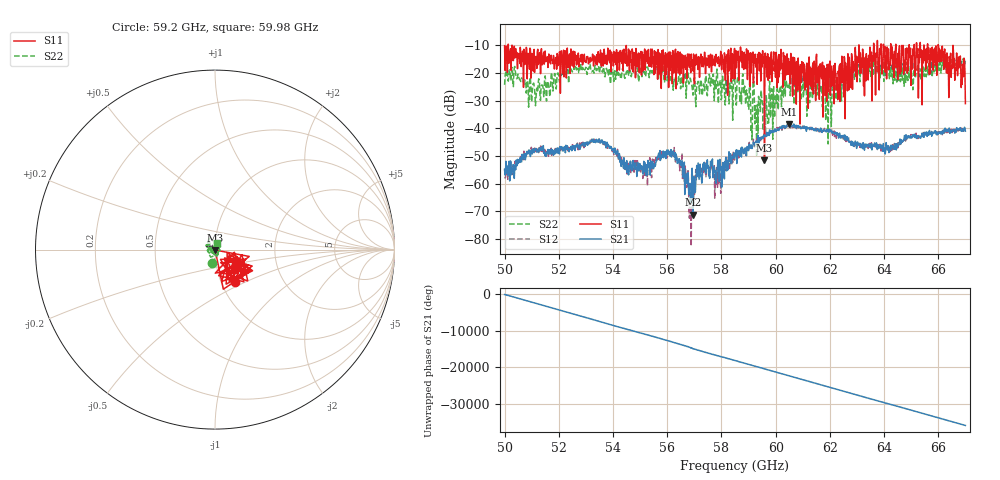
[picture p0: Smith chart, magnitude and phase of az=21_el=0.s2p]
!Created with skrf (http://scikit-rf.org).
# GHz S RI R 50.0
!freq ReS11 ImS11 ReS21 ImS21 ReS12 ImS12 ReS22 ImS22
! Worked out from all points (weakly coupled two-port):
!   1001 points, 50 GHz to 67 GHz, reference 50 ohm
!   highest |S21| = -38.37 dB at 60.49 GHz (marker M1); lowest = -71.2 dB at 56.95 GHz (marker M2)
!   lowest |S11| = -51.6 dB at 59.59 GHz (marker M3), VSWR 1.01, Z = 50.1 - j0.256 ohm
!   |S11| at or under -10 dB: 50.27 GHz to 63.07 GHz (12.8 GHz wide, 22.6 % of centre); 63.07 GHz to 63.62 GHz (541 MHz wide, 0.854 % of centre); 66 GHz to end of sweep (the widest 3 of 17)
!   |S22| runs from -50.1 to -14.1 dB; largest |S21 - S12| = 0.0023
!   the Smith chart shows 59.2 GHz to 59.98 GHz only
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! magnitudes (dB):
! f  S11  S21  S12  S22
! 50 GHz  -10.1  -54.8  -54.8  -24.3
! 50.42 GHz  -14.3  -51.5  -53.0  -21.5
! 51.07 GHz  -12.3  -48.7  -48.1  -23.7
! 52.84 GHz  -14.2  -46.1  -45.2  -19.3
! 53.52 GHz  -13.9  -44.6  -45.3  -18.7
! 55.19 GHz  -19.0  -54.7  -54.7  -21.2
! 55.68 GHz  -13.5  -49.2  -50.5  -22.3
! 56.27 GHz  -19.1  -50.4  -49.5  -22.8
! 56.8 GHz  -13.1  -63.8  -68.5  -24.0
! 56.95 GHz  -19.2  -71.2  -63.2  -28.0
! 57.17 GHz  -15.1  -58.4  -57.6  -25.2
! 57.94 GHz  -17.0  -51.2  -53.2  -23.4
! 58.5 GHz  -22.1  -49.7  -49.1  -23.5
! 59.59 GHz  -51.6  -42.4  -41.8  -31.5
! 60.49 GHz  -20.4  -38.4  -39.4  -24.5
! 61.34 GHz  -26.1  -39.7  -40.5  -25.7
! 62 GHz  -15.7  -40.6  -41.3  -24.7
! 62.6 GHz  -20.1  -44.2  -44.8  -19.3
! 64.18 GHz  -18.8  -48.8  -47.6  -18.4
! 66.08 GHz  -15.6  -41.3  -40.8  -15.6
! 66.75 GHz  -18.3  -40.2  -41.4  -18.2
! 67 GHz  -31.1  -41.0  -39.9  -15.7
